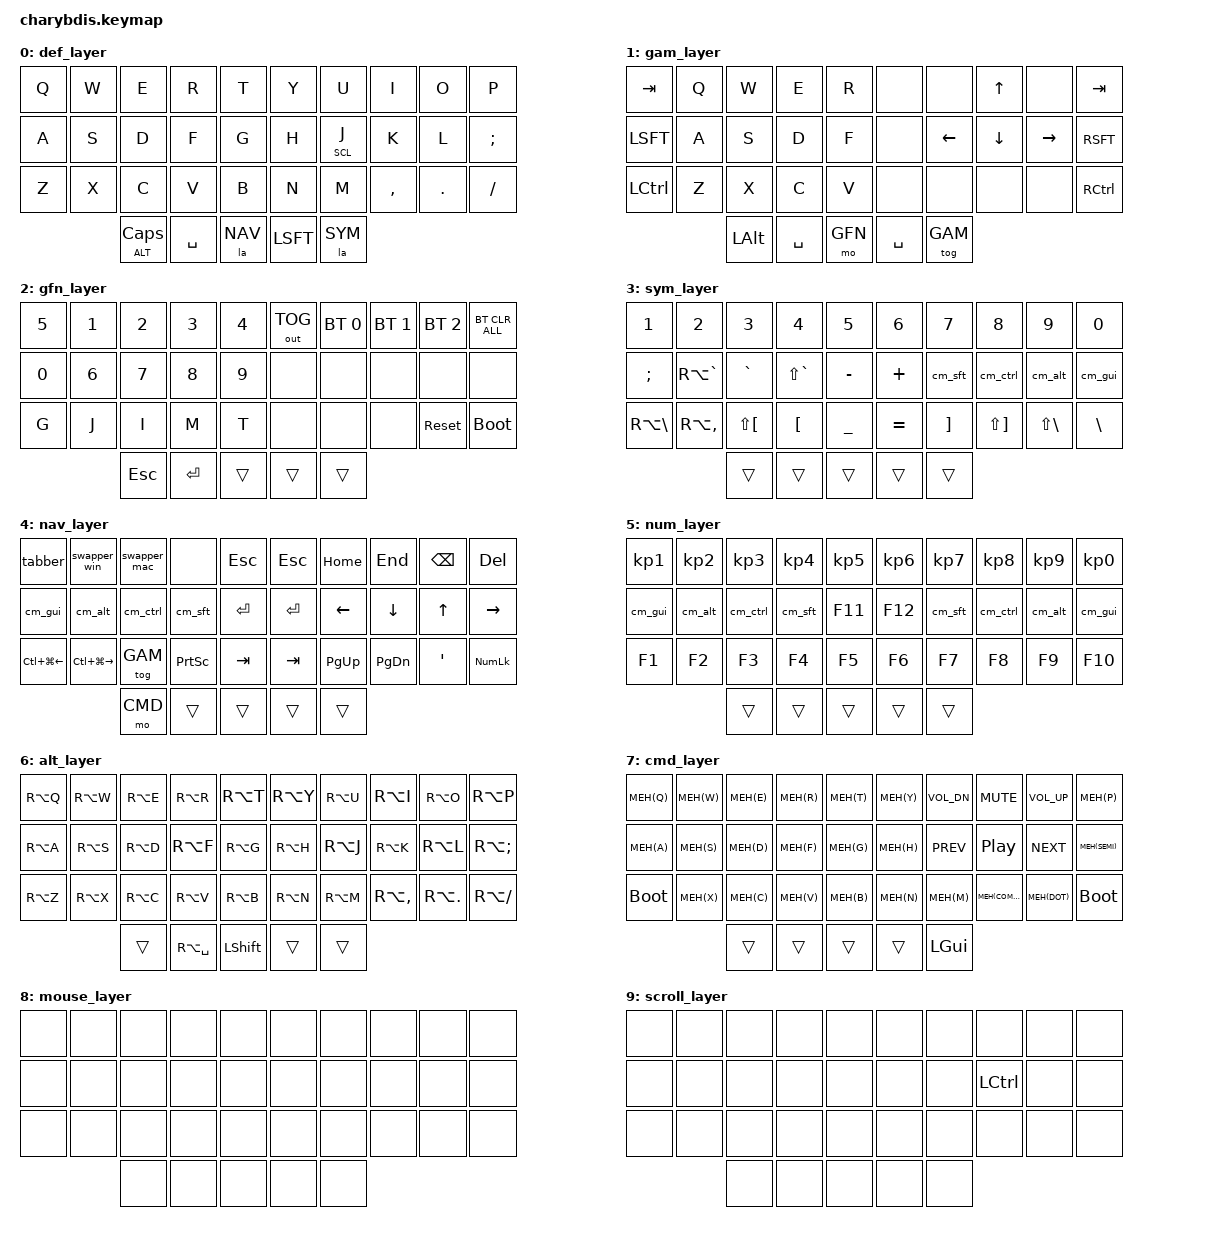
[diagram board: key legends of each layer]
#include <behaviors/mouse_keys.dtsi>
#include <behaviors.dtsi>
#include <dt-bindings/zmk/bt.h>
#include <dt-bindings/zmk/keys.h>
#include <dt-bindings/zmk/mouse.h>
#include <dt-bindings/zmk/outputs.h>

#include <dt-bindings/zmk/ext_power.h>

#define _ &kp
#define ___ &none
#define ______ &trans

#define DEF 0
#define GAM 1
#define GFN 2
#define SYM 3
#define NAV 4
#define NUM 5
#define ALT 6
#define CMD 7
#define MOU 8
#define SCL 9

#define MEH(key) LS(LC(LA(key)))

#define SQT GRAVE
#define DQT LS(GRAVE)
#define GRV RA(GRAVE)
#define PIP LS(BSLH)
#define BSL RA(BSLH)
#define NBSP RA(SPACE)

#define NSPC LC(LG(RIGHT))
#define PSPC LC(LG(LEFT))

// custom implementation of modified callum-mods,
// which can be released on second keypress
// and also work with swapper and/or tabber

#define PARAM_1 0
#define PARAM_2 0

#define MACRO(NAME, COMPATIBLE, BINDING_CELLS, BINDINGS) \
    NAME: NAME { \
        compatible = COMPATIBLE; \
        #binding-cells = <BINDING_CELLS>; \
        wait-ms = <0>; \
        tap-ms = <0>; \
        bindings = \
            <BINDINGS>; \
    };

#define MACRO_NO_PARAM(NAME, BINDINGS)  MACRO(NAME, "zmk,behavior-macro"          , 0, BINDINGS)
#define MACRO_ONE_PARAM(NAME, BINDINGS) MACRO(NAME, "zmk,behavior-macro-one-param", 1, BINDINGS)
#define MACRO_TWO_PARAM(NAME, BINDINGS) MACRO(NAME, "zmk,behavior-macro-two-param", 2, BINDINGS)

#define MAX_TIMER __UINT32_MAX__ // around 50 days

#define STICKY_FOREVER(NAME, BIND) \
    NAME: NAME { \
        compatible = "zmk,behavior-sticky-key"; \
        #binding-cells = <1>; \
        bindings = <BIND>; \
        release-after-ms = <MAX_TIMER>; \
        ignore-modifiers; \
    };

#define MODMORPH(NAME, NORMAL, MORPHED, MODS, KEEP_MODS) \
    NAME: NAME { \
        compatible = "zmk,behavior-mod-morph"; \
        #binding-cells = <0>; \
        bindings = <NORMAL>, <MORPHED>; \
        mods = <(MODS)>; \
        keep-mods = <(KEEP_MODS)>; \
    };

&sk {
        release-after-ms = <60000>;
};

/ {
    chosen { zmk,matrix_transform = &default_transform ; };

/* Use this instead for 3x6 form factor:
    chosen { zmk,matrix_transform = &default_transform; }; */

};

/*                KEY POSITIONS for combos

  ╭────────────────────╮ ╭────────────────────╮
  │  0   1   2   3   4 │ │  5   6   7   8   9 │
  │ 10  11  12  13  14 │ │ 15  16  17  18  19 │
  │ 20  21  22  23  24 │ │ 25  26  27  28  29 │
  ╰───────╮ 30  31  32 │ │ 33  34 ╭───────────╯
          ╰────────────╯ ╰────────╯                */
 / {
     combos {
        compatible = "zmk,combos";

        LeftClickRight {
            bindings = <&mkp LCLK>;
            key-positions = <16 17>;
        };

        RightClickRight {
            bindings = <&mkp RCLK>;
            key-positions = <18 19>;
        };

        MiddleClickRight {
            bindings = <&mkp MCLK>;
            key-positions = <17 18>;
        };
        
        MouseButton4Right {
            bindings = <&mkp MB4>;
            key-positions = <26 27>;
        };
        
        MouseButton5Right {
            bindings = <&mkp MB5>;
            key-positions = <28 29>;
        };
        
        RefreshPageRight {
            bindings = <&kp F5>;
            key-positions = <6 7>;
        };

    }; 

    trackball_listener {
        compatible = "zmk,input-behavior-listener";
        device = <&vtrackball>;
        layers = <DEF GAM GFN SYM NAV NUM ALT CMD MOU>;
        evt-type = <INPUT_EV_REL>;
        x-input-code = <INPUT_REL_X>;
        y-input-code = <INPUT_REL_Y>;
        scale-multiplier = <1>;
        scale-divisor = <1>;
    };

    trackball_scroll_listener {
        compatible = "zmk,input-behavior-listener";
        device = <&vtrackball>;
        layers = <SCL>;
        evt-type = <INPUT_EV_REL>;            
        x-input-code = <INPUT_REL_HWHEEL>;
        y-input-code = <INPUT_REL_WHEEL>;
        x-invert;
        bindings = <&ib_horizontal_wheel_scaler 1 8 &ib_vertical_wheel_scaler 1 8>;
    };

    ib_horizontal_wheel_scaler: ib_horizontal_wheel_scaler {
        compatible = "zmk,input-behavior-scaler";
        #binding-cells = <2>;
        evt-type = <INPUT_EV_REL>;
        input-code = <INPUT_REL_HWHEEL>;
    };

    ib_vertical_wheel_scaler: ib_vertical_wheel_scaler {
        compatible = "zmk,input-behavior-scaler";
        #binding-cells = <2>;
        evt-type = <INPUT_EV_REL>;
        input-code = <INPUT_REL_WHEEL>;
    };

    behaviors {
        MACRO_ONE_PARAM(
            m_release_key_twice,
            &macro_release
                &macro_param_1to1 &kp PARAM_1
                &macro_param_1to1 &kp PARAM_1
        )


        MACRO_ONE_PARAM(
            m_press_key_twice,
            &macro_press
                &macro_param_1to1 &kp PARAM_1
                &macro_param_1to1 &kp PARAM_1
            &macro_pause_for_release
            &macro_tap
                &m_release_key_twice PARAM_1
        )

        STICKY_FOREVER(sticky_forever, &m_press_key_twice)

        MODMORPH(
            cm_gui,
            &sticky_forever LGUI,
            &m_release_key_twice LGUI,
            MOD_LGUI,
            MOD_LGUI
        )

        MODMORPH(
            cm_alt,
            &sticky_forever LALT,
            &m_release_key_twice LALT,
            MOD_LALT,
            MOD_LALT
        )

        MODMORPH(
            cm_ctrl,
            &sticky_forever LCTRL,
            &m_release_key_twice LCTRL,
            MOD_LCTL,
            MOD_LCTL
        )

        MODMORPH(
            cm_sft,
            &sticky_forever LSHIFT,
            &m_release_key_twice LSHIFT,
            MOD_LSFT,
            MOD_LSFT
        )

        MACRO_TWO_PARAM(
            m_hold_mod_press_key,
            &macro_press
                &macro_param_1to1 &kp PARAM_1
            &macro_tap
                &macro_param_2to1 &kp PARAM_2
        )

        MODMORPH(
            tabber,
            &m_hold_mod_press_key LCTRL TAB,
            &kp TAB,
            MOD_LCTL,
            MOD_LCTL
        )

        MODMORPH(
            swapper_win,
            &m_hold_mod_press_key LALT TAB,
            &kp TAB,
            MOD_LALT,
            MOD_LALT
        )

        MODMORPH(
            swapper_mac,
            &m_hold_mod_press_key LGUI TAB,
            &kp TAB,
            MOD_LGUI,
            MOD_LGUI
        )

        MACRO_ONE_PARAM(
            la,
            &macro_tap
                &kp 0 // do nothing, fire all sticky keys
            &macro_press
                &macro_param_1to1 &mo PARAM_1
            &macro_pause_for_release
            &macro_release
                &macro_param_1to1 &mo PARAM_1
                &kp LSHFT
                &kp LCTRL
                &kp LALT
                &kp LGUI
        )
        
        base_lt: base_layer_hold_tap {
            compatible = "zmk,behavior-hold-tap";
            label = "BASE_LAYER_HOLD_TAP";
            #binding-cells = <2>;
            flavor = "tap-preferred";
            tapping-term-ms = <200>;
            quick-tap-ms = <200>;
            bindings = <&mo>, <&kp>;
        };
    };

    conditional_layers {
        compatible = "zmk,conditional-layers";
        tri_layer {
            if-layers  = <NAV SYM>;
            then-layer = <NUM>;
        };
    };
};

 / {
    keymap {
        compatible = "zmk,keymap";

        def_layer {
            bindings = <
_ Q          _ W          _ E          _ R         _ T             _ Y          _ U            _ I          _ O          _ P
_ A          _ S          _ D          _ F         _ G             _ H          &base_lt SCL J _ K          _ L          _ SEMI
_ Z          _ X          _ C          _ V         _ B             _ N          _ M            _ COMMA      _ DOT        _ FSLH
                          &base_lt ALT CAPS _ SPACE     &la NAV         _ LSFT       &la SYM
            >;
        };

        gam_layer {
            bindings = <
_ TAB        _ Q          _ W          _ E         _ R             ___          ___          _ UP         ___          _ TAB
_ LSFT       _ A          _ S          _ D         _ F             ___          _ LEFT       _ DOWN       _ RIGHT      _ RSFT
_ LCTRL      _ Z          _ X          _ C         _ V             ___          ___          ___          ___          _ RCTRL
                          _ LALT       _ SPACE     &mo GFN         _ SPACE      &tog GAM
            >;
        };

        gfn_layer {
            bindings = <
_ N5         _ N1         _ N2         _ N3        _ N4            &out OUT_TOG &bt BT_SEL 0 &bt BT_SEL 1 &bt BT_SEL 2 &bt BT_CLR_ALL
_ N0         _ N6         _ N7         _ N8        _ N9            ___          ___          ___          ___          ___
_ G          _ J          _ I          _ M         _ T             ___          ___          ___          &sys_reset   &bootloader
                          _ ESC        _ RET       ______          ______       ______       
            >;
        };

        sym_layer {
            bindings = <
_ N1         _ N2         _ N3         _ N4        _ N5            _ N6         _ N7         _ N8         _ N9         _ N0
_ SEMI       _ GRV        _ SQT        _ DQT       _ MINUS         _ PLUS       &cm_sft      &cm_ctrl     &cm_alt      &cm_gui
_ BSL        _ RA(COMMA)  _ LS(LBKT)   _ LBKT      _ UNDER         _ EQUAL      _ RBKT       _ LS(RBKT)   _ PIP        _ BSLH
                          ______       ______      ______          ______       ______       
            >;
        };

        nav_layer {
            bindings = <
&tabber      &swapper_win &swapper_mac ___         _ ESC           _ ESC        _ HOME       _ END        _ BSPC       _ DEL
&cm_gui      &cm_alt      &cm_ctrl     &cm_sft     _ RET           _ RET        _ LEFT       _ DOWN       _ UP         _ RIGHT
_ PSPC       _ NSPC       &tog GAM     _ PSCRN     _ TAB           _ TAB        _ PG_UP      _ PG_DN      _ APOS       _ KP_NUM
                          &mo CMD      ______      ______          ______       ______       
            >;
        };

        num_layer {
            bindings = <
_ KP_N1      _ KP_N2      _ KP_N3      _ KP_N4     _ KP_N5         _ KP_N6      _ KP_N7      _ KP_N8      _ KP_N9      _ KP_N0
&cm_gui      &cm_alt      &cm_ctrl     &cm_sft     _ F11           _ F12        &cm_sft      &cm_ctrl     &cm_alt       &cm_gui
_ F1         _ F2         _ F3         _ F4        _ F5            _ F6         _ F7         _ F8         _ F9         _ F10
                          ______       ______      ______          ______       ______       
            >;
        };

        alt_layer {
            bindings = <
_ RA(Q)      _ RA(W)      _ RA(E)      _ RA(R)     _ RA(T)         _ RA(Y)      _ RA(U)      _ RA(I)      _ RA(O)      _ RA(P)
_ RA(A)      _ RA(S)      _ RA(D)      _ RA(F)     _ RA(G)         _ RA(H)      _ RA(J)      _ RA(K)      _ RA(L)      _ RA(SEMI)
_ RA(Z)      _ RA(X)      _ RA(C)      _ RA(V)     _ RA(B)         _ RA(N)      _ RA(M)      _ RA(COMMA)  _ RA(DOT)    _ RA(FSLH)
                          ______       _ NBSP      _ LSHFT         ______       ______       
            >;
        };

        cmd_layer {
            bindings = <
_ MEH(Q)     _ MEH(W)     _ MEH(E)     _ MEH(R)    _ MEH(T)        _ MEH(Y)     _ C_VOL_DN   _ C_MUTE     _ C_VOL_UP   _ MEH(P)
_ MEH(A)     _ MEH(S)     _ MEH(D)     _ MEH(F)    _ MEH(G)        _ MEH(H)     _ C_PREV     _ C_PP       _ C_NEXT     _ MEH(SEMI)
&bootloader  _ MEH(X)     _ MEH(C)     _ MEH(V)    _ MEH(B)        _ MEH(N)     _ MEH(M)     _ MEH(COMMA) _ MEH(DOT)   &bootloader
                          ______       ______      ______          ______       _ LGUI
            >;
        };
        
        mouse_layer {
            bindings = <
___          ___          ___          ___          ___        /*&  &*/       ___          ___          ___          ___          ___
___          ___          ___          ___          ___        /*&  &*/       ___          ___          ___          ___          ___
___          ___          ___          ___          ___        /*&  &*/       ___          ___          ___          ___          ___
                          ___          ___          ___        /*&  &*/       ___          ___
            >;
        };    


        scroll_layer {
            bindings = <
___          ___          ___          ___          ___        /*&  &*/       ___          ___          ___          ___          ___
___          ___          ___          ___          ___        /*&  &*/       ___          ___          _ LCTRL      ___          ___
___          ___          ___          ___          ___        /*&  &*/       ___          ___          ___          ___          ___
                          ___          ___          ___        /*&  &*/       ___          ___
            >;
        };
    };
};
